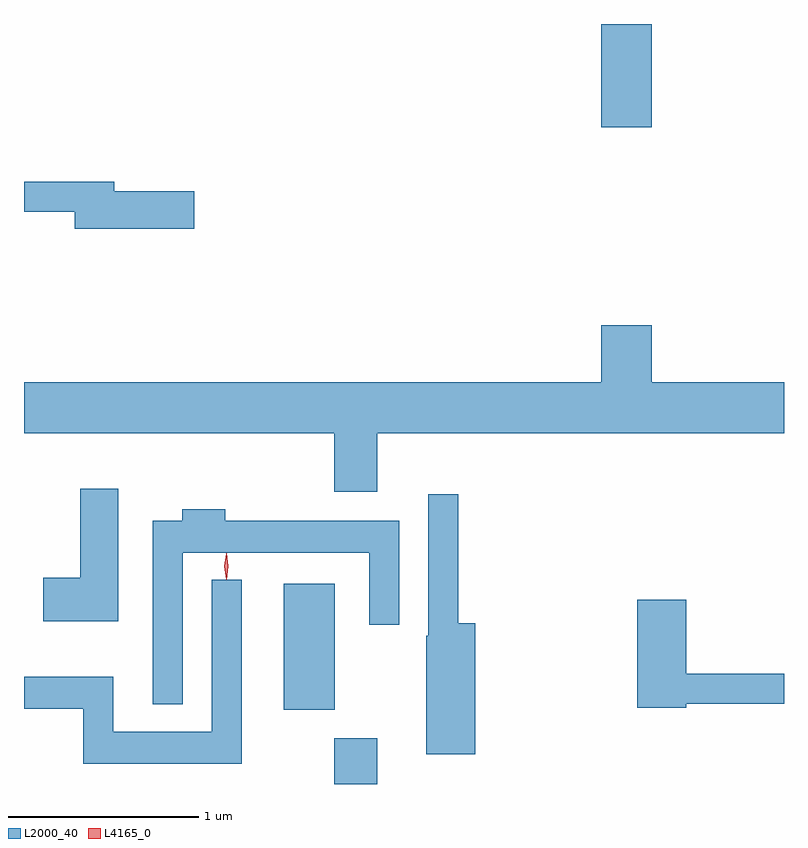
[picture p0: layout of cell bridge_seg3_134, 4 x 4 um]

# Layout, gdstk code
import gdstk
lib = gdstk.Library(unit=1e-6, precision=1e-09)
def R(c, l, rs):  # rectangles x0, y0, x1, y1
    for r in rs: c.add(gdstk.rectangle(r[:2], r[2:], *l))
def P(c, l, *ps):  # polygons
    for p in ps: c.add(gdstk.Polygon(p, *l))
L2000_40 = (2000, 40)
L4165_0 = (4165, 0)

bridge_seg3_134 = lib.new_cell('bridge_seg3_134')
R(bridge_seg3_134, L2000_40, [(892.991,1239.609,893.219,1239.849), (892.726,1240.001,892.994,1240.664), (894.396,1243.066,894.664,1243.609)])
P(bridge_seg3_134, L2000_40, [(892.254,1242.729),(891.834,1242.729),(891.834,1242.779),(891.359,1242.779),(891.359,1242.621),(891.626,1242.621),(891.626,1242.531),(892.254,1242.531)],
  [(893.219,1241.456),(895.359,1241.456),(895.359,1241.724),(894.664,1241.724),(894.664,1242.024),(894.396,1242.024),(894.396,1241.724),(891.359,1241.724),(891.359,1241.456),(892.991,1241.456),(892.991,1241.146),(893.219,1241.146)],
  [(891.854,1241.164),(891.656,1241.164),(891.656,1240.694),(891.461,1240.694),(891.461,1240.466),(891.854,1240.466)],
  [(893.734,1240.454),(893.644,1240.454),(893.644,1241.133),(893.486,1241.133),(893.486,1240.39),(893.476,1240.39),(893.476,1239.766),(893.734,1239.766)],
  [(892.194,1240.826),(893.176,1240.826),(893.176,1240.448),(893.334,1240.448),(893.334,1240.994),(892.419,1240.994),(892.419,1241.054),(892.191,1241.054),(892.191,1240.994),(892.036,1240.994),(892.036,1240.028),(892.194,1240.028)],
  [(892.504,1240.683),(892.346,1240.683),(892.346,1239.884),(891.829,1239.884),(891.829,1240.174),(891.359,1240.174),(891.359,1240.006),(891.671,1240.006),(891.671,1239.716),(892.504,1239.716)],
  [(894.844,1240.031),(895.359,1240.031),(895.359,1240.189),(894.844,1240.189),(894.844,1240.579),(894.586,1240.579),(894.586,1240.011),(894.844,1240.011)])
P(bridge_seg3_134, L4165_0, [(892.423,1240.687),(892.423,1240.687),(892.413,1240.754),(892.423,1240.82),(892.423,1240.821),(892.424,1240.82),(892.433,1240.754),(892.424,1240.687)],
  [(892.424,1240.684),(892.415,1240.754),(892.424,1240.823),(892.425,1240.823),(892.425,1240.823),(892.435,1240.754),(892.425,1240.684),(892.425,1240.684)])

lib.write_gds('bridge_seg3_134.gds')
